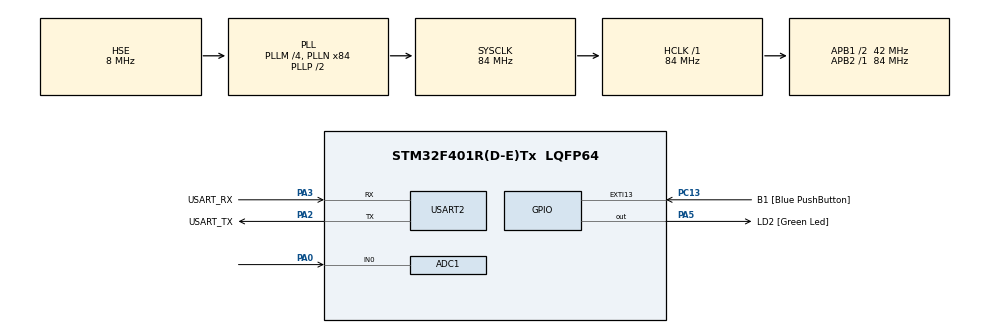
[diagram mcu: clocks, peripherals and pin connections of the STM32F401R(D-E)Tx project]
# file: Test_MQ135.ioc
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ADC1.Channel-0\#ChannelRegularConversion=ADC_CHANNEL_0
ADC1.ContinuousConvMode=ENABLE
ADC1.DMAContinuousRequests=ENABLE
ADC1.DiscontinuousConvMode=DISABLE
ADC1.EOCSelection=ADC_EOC_SEQ_CONV
ADC1.NbrOfConversionFlag=1
ADC1.Rank-0\#ChannelRegularConversion=1
ADC1.SamplingTime-0\#ChannelRegularConversion=ADC_SAMPLETIME_3CYCLES
ADC1.ScanConvMode=ENABLE
ADC1.master=1
Dma.ADC1.0.Direction=DMA_PERIPH_TO_MEMORY
Dma.ADC1.0.FIFOMode=DMA_FIFOMODE_DISABLE
Dma.ADC1.0.Instance=DMA2_Stream0
Dma.ADC1.0.MemDataAlignment=DMA_MDATAALIGN_WORD
Dma.ADC1.0.MemInc=DMA_MINC_ENABLE
Dma.ADC1.0.Mode=DMA_CIRCULAR
Dma.ADC1.0.PeriphDataAlignment=DMA_PDATAALIGN_WORD
Dma.ADC1.0.PeriphInc=DMA_PINC_DISABLE
Dma.ADC1.0.Priority=DMA_PRIORITY_LOW
Dma.Request0=ADC1
Mcu.Family=STM32F4
Mcu.Name=STM32F401R(D-E)Tx
Mcu.Package=LQFP64
NVIC.DMA2_Stream0_IRQn=true\:0\:0\:false\:false\:true\:false\:true\:true
NVIC.PriorityGroup=NVIC_PRIORITYGROUP_0
NVIC.TIM2_IRQn=true\:0\:0\:false\:false\:true\:true\:true\:true
PA0-WKUP.Signal=ADCx_IN0
PA13.GPIO_Label=TMS
PA13.Mode=Serial_Wire
PA13.Signal=SYS_JTMS-SWDIO
PA14.GPIO_Label=TCK
PA14.Mode=Serial_Wire
PA14.Signal=SYS_JTCK-SWCLK
PA2.GPIO_Label=USART_TX
PA2.GPIO_Mode=GPIO_MODE_AF_PP
PA2.GPIO_PuPd=GPIO_NOPULL
PA2.GPIO_Speed=GPIO_SPEED_FREQ_LOW
PA2.Mode=Asynchronous
PA2.Signal=USART2_TX
PA3.GPIO_Label=USART_RX
PA3.GPIO_Mode=GPIO_MODE_AF_PP
PA3.GPIO_PuPd=GPIO_NOPULL
PA3.GPIO_Speed=GPIO_SPEED_FREQ_LOW
PA3.Mode=Asynchronous
PA3.Signal=USART2_RX
PA5.GPIO_Label=LD2 [Green Led]
PA5.GPIO_Mode=GPIO_MODE_OUTPUT_PP
PA5.GPIO_PuPd=GPIO_NOPULL
PA5.GPIO_Speed=GPIO_SPEED_FREQ_LOW
PA5.Signal=GPIO_Output
PB3.GPIO_Label=SWO
PB3.Signal=SYS_JTDO-SWO
PC13-ANTI_TAMP.GPIO_Label=B1 [Blue PushButton]
PC13-ANTI_TAMP.GPIO_ModeDefaultEXTI=GPIO_MODE_IT_FALLING
PC13-ANTI_TAMP.GPIO_PuPd=GPIO_NOPULL
PC13-ANTI_TAMP.Signal=GPXTI13
PC14-OSC32_IN.Mode=LSE-External-Oscillator
PC14-OSC32_IN.Signal=RCC_OSC32_IN
PC15-OSC32_OUT.Mode=LSE-External-Oscillator
PC15-OSC32_OUT.Signal=RCC_OSC32_OUT
PH0\ -\ OSC_IN.Mode=HSE-External-Clock-Source
PH0\ -\ OSC_IN.Signal=RCC_OSC_IN
PH1\ -\ OSC_OUT.Mode=HSE-External-Clock-Source
PH1\ -\ OSC_OUT.Signal=RCC_OSC_OUT
ProjectManager.HeapSize=0x200
ProjectManager.StackSize=0x400
ProjectManager.TargetToolchain=STM32CubeIDE
RCC.48MHZClocksFreq_Value=24000000
RCC.AHBFreq_Value=84000000
RCC.APB1CLKDivider=RCC_HCLK_DIV2
RCC.APB1Freq_Value=42000000
RCC.APB1TimFreq_Value=84000000
RCC.APB2Freq_Value=84000000
RCC.APB2TimFreq_Value=84000000
RCC.CortexFreq_Value=84000000
RCC.HCLKFreq_Value=84000000
RCC.HSE_VALUE=8000000
RCC.HSI_VALUE=16000000
RCC.PLLM=4
RCC.PLLN=84
RCC.PLLQ=7
RCC.PLLSourceVirtual=RCC_PLLSOURCE_HSE
RCC.SYSCLKFreq_VALUE=84000000
RCC.SYSCLKSource=RCC_SYSCLKSOURCE_PLLCLK
RCC.VCOOutputFreq_Value=168000000
SH.ADCx_IN0.0=ADC1_IN0,IN0
TIM2.AutoReloadPreload=TIM_AUTORELOAD_PRELOAD_ENABLE
TIM2.Period=1999
TIM2.Prescaler=41999
USART2.VirtualMode=VM_ASYNC
VP_TIM2_VS_ClockSourceINT.Mode=Internal
board=NUCLEO-F401RE

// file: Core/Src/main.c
/* USER CODE BEGIN Header */
/**
  ******************************************************************************
  * @file           : main.c
  * @brief          : Main program body
  ******************************************************************************
  * @attention
  *
  * Copyright (c) 2023 STMicroelectronics.
  * All rights reserved.
  *
  * This software is licensed under terms that can be found in the LICENSE file
  * in the root directory of this software component.
  * If no LICENSE file comes with this software, it is provided AS-IS.
  *
  ******************************************************************************
  */
/* USER CODE END Header */
#include "main.h"

/* USER CODE BEGIN Includes */
#include "stdio.h"
#include "MQ135.h"
/* USER CODE END Includes */

ADC_HandleTypeDef hadc1;
DMA_HandleTypeDef hdma_adc1;

TIM_HandleTypeDef htim2;

UART_HandleTypeDef huart2;

/* USER CODE BEGIN PV */
uint32_t ConversionGasADC;
float ConcentracionPPM[4]; //Concentracion de los gases en PPM
uint32_t NivelContaminacionAire;

char buffer[40];
uint8_t size;
/* USER CODE END PV */

void SystemClock_Config(void);
static void MX_GPIO_Init(void);
static void MX_DMA_Init(void);
static void MX_USART2_UART_Init(void);
static void MX_ADC1_Init(void);
static void MX_TIM2_Init(void);
/* USER CODE BEGIN PFP */

void HAL_ADC_ConvCpltCallback(ADC_HandleTypeDef* hadc);
void HAL_TIM_PeriodElapsedCallback(TIM_HandleTypeDef *htim);
/* USER CODE END PFP */

/* USER CODE BEGIN 0 */
void HAL_ADC_ConvCpltCallback(ADC_HandleTypeDef* hadc)
{
	return;
}

void HAL_TIM_PeriodElapsedCallback(TIM_HandleTypeDef *htim)
{
	if(ConversionGasADC)
	{
		//MQ135_ConversionPPM(ConversionGasADC);
		//size= sprintf(buffer, "Concentracion CO2: %.2fppm\n\r", ConcentracionPPM[0]);
		NivelContaminacionAire= MQ135_NivelContaminacion(ConversionGasADC);
		size= sprintf(buffer, "Contaminacion del Aire: %lu%% \n\r", NivelContaminacionAire);
		HAL_UART_Transmit(&huart2, (uint8_t*)buffer, size, HAL_MAX_DELAY);
		//HAL_Delay(500);
	}
	return;
}
/* USER CODE END 0 */

int main(void)
{

  /* MCU Configuration--------------------------------------------------------*/

  /* Reset of all peripherals, Initializes the Flash interface and the Systick. */
  HAL_Init();

  /* Configure the system clock */
  SystemClock_Config();

  /* Initialize all configured peripherals */
  MX_GPIO_Init();
  MX_DMA_Init();
  MX_USART2_UART_Init();
  MX_ADC1_Init();
  MX_TIM2_Init();
  /* USER CODE BEGIN 2 */

  //Si inicio primero la conversion x DMA nunca me llama la callback del timer
  HAL_TIM_Base_Start_IT(&htim2);
  HAL_ADC_Start_DMA(&hadc1, &ConversionGasADC, 1);

//  char buffer[40]= "String de Prueba\n";
//  uint8_t size;
  /* USER CODE END 2 */

  /* Infinite loop */
  /* USER CODE BEGIN WHILE */
  while (1)
  {
	  //Nunca se esta ejecutando esto... el DMA del ADC no deja q se ejecute

	  //size= sprintf(buffer, "Lectura Gas: %.2lu\n\r", ConversionGasADC);
	  //size= strlen(buffer);
	  HAL_Delay(500);
	  HAL_UART_Transmit(&huart2, (uint8_t*)buffer, size, HAL_MAX_DELAY);
	  HAL_Delay(500);
    /* USER CODE END WHILE */

  }
}

void SystemClock_Config(void)
{
  RCC_OscInitTypeDef RCC_OscInitStruct = {0};
  RCC_ClkInitTypeDef RCC_ClkInitStruct = {0};

  /** Configure the main internal regulator output voltage
  */
  __HAL_RCC_PWR_CLK_ENABLE();
  __HAL_PWR_VOLTAGESCALING_CONFIG(PWR_REGULATOR_VOLTAGE_SCALE2);

  /** Initializes the RCC Oscillators according to the specified parameters
  * in the RCC_OscInitTypeDef structure.
  */
  RCC_OscInitStruct.OscillatorType = RCC_OSCILLATORTYPE_HSE;
  RCC_OscInitStruct.HSEState = RCC_HSE_BYPASS;
  RCC_OscInitStruct.PLL.PLLState = RCC_PLL_ON;
  RCC_OscInitStruct.PLL.PLLSource = RCC_PLLSOURCE_HSE;
  RCC_OscInitStruct.PLL.PLLM = 4;
  RCC_OscInitStruct.PLL.PLLN = 84;
  RCC_OscInitStruct.PLL.PLLP = RCC_PLLP_DIV2;
  RCC_OscInitStruct.PLL.PLLQ = 7;
  if (HAL_RCC_OscConfig(&RCC_OscInitStruct) != HAL_OK)
  {
    Error_Handler();
  }

  /** Initializes the CPU, AHB and APB buses clocks
  */
  RCC_ClkInitStruct.ClockType = RCC_CLOCKTYPE_HCLK|RCC_CLOCKTYPE_SYSCLK
                              |RCC_CLOCKTYPE_PCLK1|RCC_CLOCKTYPE_PCLK2;
  RCC_ClkInitStruct.SYSCLKSource = RCC_SYSCLKSOURCE_PLLCLK;
  RCC_ClkInitStruct.AHBCLKDivider = RCC_SYSCLK_DIV1;
  RCC_ClkInitStruct.APB1CLKDivider = RCC_HCLK_DIV2;
  RCC_ClkInitStruct.APB2CLKDivider = RCC_HCLK_DIV1;

  if (HAL_RCC_ClockConfig(&RCC_ClkInitStruct, FLASH_LATENCY_2) != HAL_OK)
  {
    Error_Handler();
  }
}

static void MX_ADC1_Init(void)
{

  ADC_ChannelConfTypeDef sConfig = {0};

  /** Configure the global features of the ADC (Clock, Resolution, Data Alignment and number of conversion)
  */
  hadc1.Instance = ADC1;
  hadc1.Init.ClockPrescaler = ADC_CLOCK_SYNC_PCLK_DIV4;
  hadc1.Init.Resolution = ADC_RESOLUTION_12B;
  hadc1.Init.ScanConvMode = ENABLE;
  hadc1.Init.ContinuousConvMode = ENABLE;
  hadc1.Init.DiscontinuousConvMode = DISABLE;
  hadc1.Init.ExternalTrigConvEdge = ADC_EXTERNALTRIGCONVEDGE_NONE;
  hadc1.Init.ExternalTrigConv = ADC_SOFTWARE_START;
  hadc1.Init.DataAlign = ADC_DATAALIGN_RIGHT;
  hadc1.Init.NbrOfConversion = 1;
  hadc1.Init.DMAContinuousRequests = ENABLE;
  hadc1.Init.EOCSelection = ADC_EOC_SEQ_CONV;
  if (HAL_ADC_Init(&hadc1) != HAL_OK)
  {
    Error_Handler();
  }

  /** Configure for the selected ADC regular channel its corresponding rank in the sequencer and its sample time.
  */
  sConfig.Channel = ADC_CHANNEL_0;
  sConfig.Rank = 1;
  sConfig.SamplingTime = ADC_SAMPLETIME_3CYCLES;
  if (HAL_ADC_ConfigChannel(&hadc1, &sConfig) != HAL_OK)
  {
    Error_Handler();
  }

}

static void MX_TIM2_Init(void)
{

  TIM_ClockConfigTypeDef sClockSourceConfig = {0};
  TIM_MasterConfigTypeDef sMasterConfig = {0};

  htim2.Instance = TIM2;
  htim2.Init.Prescaler = 41999;
  htim2.Init.CounterMode = TIM_COUNTERMODE_UP;
  htim2.Init.Period = 1999;
  htim2.Init.ClockDivision = TIM_CLOCKDIVISION_DIV1;
  htim2.Init.AutoReloadPreload = TIM_AUTORELOAD_PRELOAD_ENABLE;
  if (HAL_TIM_Base_Init(&htim2) != HAL_OK)
  {
    Error_Handler();
  }
  sClockSourceConfig.ClockSource = TIM_CLOCKSOURCE_INTERNAL;
  if (HAL_TIM_ConfigClockSource(&htim2, &sClockSourceConfig) != HAL_OK)
  {
    Error_Handler();
  }
  sMasterConfig.MasterOutputTrigger = TIM_TRGO_RESET;
  sMasterConfig.MasterSlaveMode = TIM_MASTERSLAVEMODE_DISABLE;
  if (HAL_TIMEx_MasterConfigSynchronization(&htim2, &sMasterConfig) != HAL_OK)
  {
    Error_Handler();
  }

}

static void MX_USART2_UART_Init(void)
{

  huart2.Instance = USART2;
  huart2.Init.BaudRate = 115200;
  huart2.Init.WordLength = UART_WORDLENGTH_8B;
  huart2.Init.StopBits = UART_STOPBITS_1;
  huart2.Init.Parity = UART_PARITY_NONE;
  huart2.Init.Mode = UART_MODE_TX_RX;
  huart2.Init.HwFlowCtl = UART_HWCONTROL_NONE;
  huart2.Init.OverSampling = UART_OVERSAMPLING_16;
  if (HAL_UART_Init(&huart2) != HAL_OK)
  {
    Error_Handler();
  }

}

static void MX_DMA_Init(void)
{

  /* DMA controller clock enable */
  __HAL_RCC_DMA2_CLK_ENABLE();

  /* DMA interrupt init */
  /* DMA2_Stream0_IRQn interrupt configuration */
  HAL_NVIC_SetPriority(DMA2_Stream0_IRQn, 0, 0);
  HAL_NVIC_EnableIRQ(DMA2_Stream0_IRQn);

}

static void MX_GPIO_Init(void)
{
  GPIO_InitTypeDef GPIO_InitStruct = {0};

  /* GPIO Ports Clock Enable */
  __HAL_RCC_GPIOC_CLK_ENABLE();
  __HAL_RCC_GPIOH_CLK_ENABLE();
  __HAL_RCC_GPIOA_CLK_ENABLE();
  __HAL_RCC_GPIOB_CLK_ENABLE();

  /*Configure GPIO pin Output Level */
  HAL_GPIO_WritePin(LD2_GPIO_Port, LD2_Pin, GPIO_PIN_RESET);

  /*Configure GPIO pin : B1_Pin */
  GPIO_InitStruct.Pin = B1_Pin;
  GPIO_InitStruct.Mode = GPIO_MODE_IT_FALLING;
  GPIO_InitStruct.Pull = GPIO_NOPULL;
  HAL_GPIO_Init(B1_GPIO_Port, &GPIO_InitStruct);

  /*Configure GPIO pin : LD2_Pin */
  GPIO_InitStruct.Pin = LD2_Pin;
  GPIO_InitStruct.Mode = GPIO_MODE_OUTPUT_PP;
  GPIO_InitStruct.Pull = GPIO_NOPULL;
  GPIO_InitStruct.Speed = GPIO_SPEED_FREQ_LOW;
  HAL_GPIO_Init(LD2_GPIO_Port, &GPIO_InitStruct);

}

void Error_Handler(void)
{
  __disable_irq();
  while (1)
  {
  }
}
